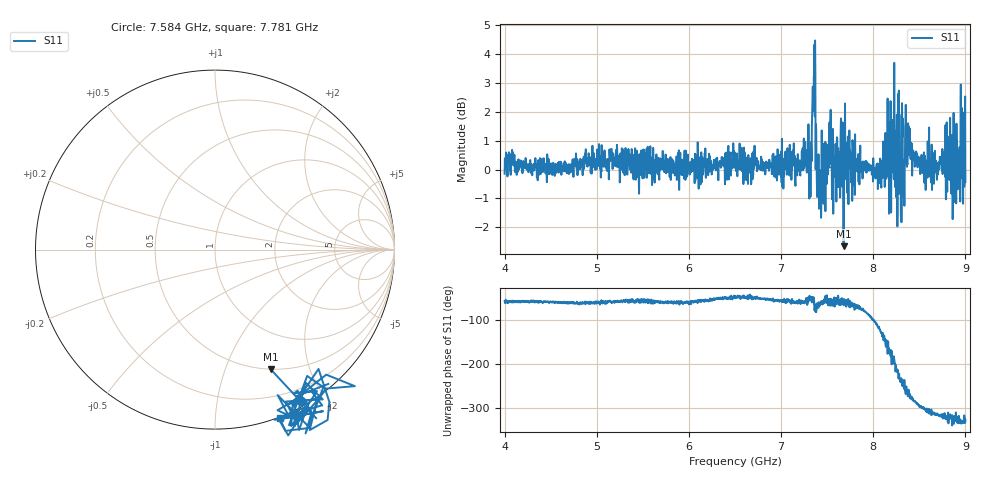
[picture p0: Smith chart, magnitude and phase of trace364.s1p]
! Created with skrf 1.8.0 (http://scikit-rf.org).
# Hz S RI R 50.0
!freq ReS11 ImS11
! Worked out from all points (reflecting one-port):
!   1601 points, 4 GHz to 9 GHz, reference 50 ohm
!   lowest |S11| = -2.7 dB at 7.678 GHz (marker M1), VSWR 6.59, Z = 24.8 - j72.5 ohm
!   phase of S11 starts at -57 deg and turns -271 deg over the sweep
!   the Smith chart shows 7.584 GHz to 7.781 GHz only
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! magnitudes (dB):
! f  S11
! 4 GHz  -0.1
! 4.625 GHz  0.0
! 5.25 GHz  -0.4
! 5.875 GHz  0.1
! 6.5 GHz  0.1
! 7.125 GHz  0.4
! 7.297 GHz  1.6
! 7.328 GHz  0.7
! 7.347 GHz  2.3
! 7.359 GHz  2.2
! 7.412 GHz  -1.4
! 7.538 GHz  2.1
! 7.575 GHz  0.4
! 7.678 GHz  -2.7
! 7.75 GHz  0.0
! 8.075 GHz  0.4
! 8.144 GHz  0.1
! 8.197 GHz  0.2
! 8.253 GHz  1.4
! 8.312 GHz  2.3
! 8.334 GHz  0.0
! 8.347 GHz  1.5
! 8.375 GHz  0.6
! 8.556 GHz  -0.5
! 8.847 GHz  1.1
! 8.9 GHz  -1.2
! 8.972 GHz  -0.3
! 9 GHz  -0.4
